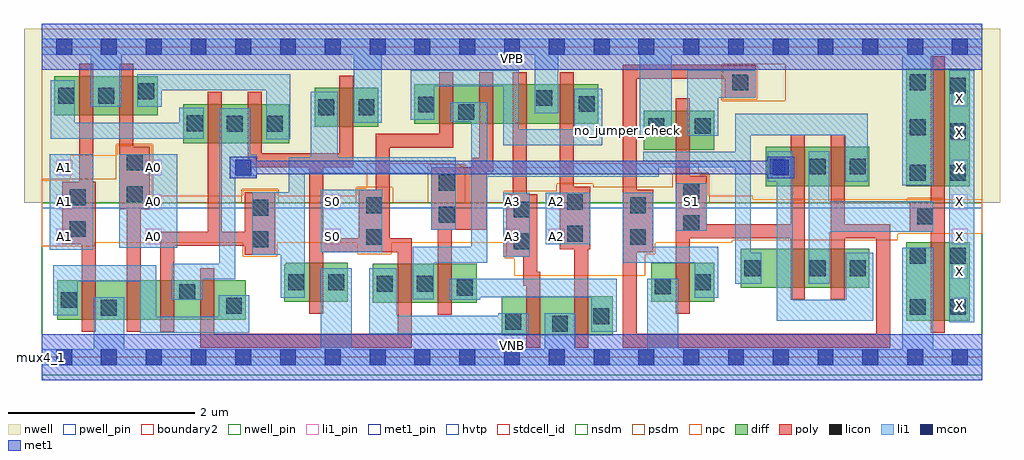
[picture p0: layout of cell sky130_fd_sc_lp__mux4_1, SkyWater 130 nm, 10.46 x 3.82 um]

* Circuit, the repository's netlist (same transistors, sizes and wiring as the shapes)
* Copyright 2020 The SkyWater PDK Authors
*
* Licensed under the Apache License, Version 2.0 (the "License");
* you may not use this file except in compliance with the License.
* You may obtain a copy of the License at
*
*     https://www.apache.org/licenses/LICENSE-2.0
*
* Unless required by applicable law or agreed to in writing, software
* distributed under the License is distributed on an "AS IS" BASIS,
* WITHOUT WARRANTIES OR CONDITIONS OF ANY KIND, either express or implied.
* See the License for the specific language governing permissions and
* limitations under the License.
*
* SPDX-License-Identifier: Apache-2.0

.SUBCKT sky130_fd_sc_lp__mux4_1 A0 A1 A2 A3 S0 S1 VGND VNB VPB VPWR X
*.PININFO A0:I A1:I A2:I A3:I S0:I S1:I VGND:I VNB:I VPB:I VPWR:I X:O
MMNA00 sndNS0ba0 S0b xlowb VNB sky130_fd_pr__nfet_01v8 m=1 w=0.42U l=0.15U mult=1
+ sa=0.265 sb=0.265 sd=0.28 area=0.028 perim=0.76
MMNA01 VGND A0 sndNS0ba0 VNB sky130_fd_pr__nfet_01v8 m=1 w=0.42U l=0.15U mult=1
+ sa=0.265 sb=0.265 sd=0.28 area=0.028 perim=0.76
MMNA10 sndNS0a1 S0 xlowb VNB sky130_fd_pr__nfet_01v8 m=1 w=0.42U l=0.15U mult=1
+ sa=0.265 sb=0.265 sd=0.28 area=0.028 perim=0.76
MMNA11 VGND A1 sndNS0a1 VNB sky130_fd_pr__nfet_01v8 m=1 w=0.42U l=0.15U mult=1
+ sa=0.265 sb=0.265 sd=0.28 area=0.028 perim=0.76
MMNA20 sndNS0ba2 S0b xhib VNB sky130_fd_pr__nfet_01v8 m=1 w=0.42U l=0.15U mult=1
+ sa=0.265 sb=0.265 sd=0.28 area=0.028 perim=0.76
MMNA21 VGND A2 sndNS0ba2 VNB sky130_fd_pr__nfet_01v8 m=1 w=0.42U l=0.15U mult=1
+ sa=0.265 sb=0.265 sd=0.28 area=0.028 perim=0.76
MMNA30 sndNS0a3 S0 xhib VNB sky130_fd_pr__nfet_01v8 m=1 w=0.42U l=0.15U mult=1
+ sa=0.265 sb=0.265 sd=0.28 area=0.028 perim=0.76
MMNA31 VGND A3 sndNS0a3 VNB sky130_fd_pr__nfet_01v8 m=1 w=0.42U l=0.15U mult=1
+ sa=0.265 sb=0.265 sd=0.28 area=0.028 perim=0.76
MMNs1o xb S1b xlowb VNB sky130_fd_pr__nfet_01v8 m=1 w=0.42U l=0.15U mult=1 sa=0.265
+ sb=0.265 sd=0.28 area=0.028 perim=0.76
MMNs2o xb S1 xhib VNB sky130_fd_pr__nfet_01v8 m=1 w=0.42U l=0.15U mult=1 sa=0.265
+ sb=0.265 sd=0.28 area=0.028 perim=0.76
MMIN1 VGND S1 S1b VNB sky130_fd_pr__nfet_01v8 m=1 w=0.42U l=0.15U mult=1 sa=0.265
+ sb=0.265 sd=0.28 area=0.028 perim=0.76
MMIN2 VGND S0 S0b VNB sky130_fd_pr__nfet_01v8 m=1 w=0.42U l=0.15U mult=1 sa=0.265
+ sb=0.265 sd=0.28 area=0.028 perim=0.76
MMIN4 VGND xb X VNB sky130_fd_pr__nfet_01v8 m=1 w=0.84U l=0.15U mult=1 sa=0.265
+ sb=0.265 sd=0.28 area=0.028 perim=0.76
MMPA00 sndPA0a0 A0 VPWR VPB sky130_fd_pr__pfet_01v8_hvt m=1 w=0.42U l=0.15U mult=1
+ sa=0.265 sb=0.265 sd=0.28 area=0.028 perim=0.76
MMPA01 xlowb S0 sndPA0a0 VPB sky130_fd_pr__pfet_01v8_hvt m=1 w=0.42U l=0.15U mult=1
+ sa=0.265 sb=0.265 sd=0.28 area=0.028 perim=0.76
MMPA10 sndPA1a1 A1 VPWR VPB sky130_fd_pr__pfet_01v8_hvt m=1 w=0.42U l=0.15U mult=1
+ sa=0.265 sb=0.265 sd=0.28 area=0.028 perim=0.76
MMPA11 xlowb S0b sndPA1a1 VPB sky130_fd_pr__pfet_01v8_hvt m=1 w=0.42U l=0.15U mult=1
+ sa=0.265 sb=0.265 sd=0.28 area=0.028 perim=0.76
MMPA20 sndPA2a2 A2 VPWR VPB sky130_fd_pr__pfet_01v8_hvt m=1 w=0.42U l=0.15U mult=1
+ sa=0.265 sb=0.265 sd=0.28 area=0.028 perim=0.76
MMPA21 xhib S0 sndPA2a2 VPB sky130_fd_pr__pfet_01v8_hvt m=1 w=0.42U l=0.15U mult=1
+ sa=0.265 sb=0.265 sd=0.28 area=0.028 perim=0.76
MMPA30 sndPA3a3 A3 VPWR VPB sky130_fd_pr__pfet_01v8_hvt m=1 w=0.42U l=0.15U mult=1
+ sa=0.265 sb=0.265 sd=0.28 area=0.028 perim=0.76
MMPA31 xhib S0b sndPA3a3 VPB sky130_fd_pr__pfet_01v8_hvt m=1 w=0.42U l=0.15U mult=1
+ sa=0.265 sb=0.265 sd=0.28 area=0.028 perim=0.76
MMPs1o xb S1 xlowb VPB sky130_fd_pr__pfet_01v8_hvt m=1 w=0.42U l=0.15U mult=1 sa=0.265
+ sb=0.265 sd=0.28 area=0.028 perim=0.76
MMPs2o xb S1b xhib VPB sky130_fd_pr__pfet_01v8_hvt m=1 w=0.42U l=0.15U mult=1 sa=0.265
+ sb=0.265 sd=0.28 area=0.028 perim=0.76
MMIP1 VPWR S1 S1b VPB sky130_fd_pr__pfet_01v8_hvt m=1 w=0.42U l=0.15U mult=1 sa=0.265
+ sb=0.265 sd=0.28 area=0.028 perim=0.76
MMIP2 VPWR S0 S0b VPB sky130_fd_pr__pfet_01v8_hvt m=1 w=0.42U l=0.15U mult=1 sa=0.265
+ sb=0.265 sd=0.28 area=0.028 perim=0.76
MMIP4 VPWR xb X VPB sky130_fd_pr__pfet_01v8_hvt m=1 w=1.26U l=0.15U mult=1 sa=0.265
+ sb=0.265 sd=0.28 area=0.028 perim=0.76
.ENDS sky130_fd_sc_lp__mux4_1

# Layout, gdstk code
import gdstk
lib = gdstk.Library(unit=1e-6, precision=1e-09)
def R(c, l, rs):  # rectangles x0, y0, x1, y1
    for r in rs: c.add(gdstk.rectangle(r[:2], r[2:], *l))
def A(c, l, x, y, w, h, nx, ny, dx, dy):  # array of equal rectangles
    R(c, l, [(x+i*dx, y+j*dy, x+i*dx+w, y+j*dy+h) for i in range(nx) for j in range(ny)])
def P(c, l, *ps):  # polygons
    for p in ps: c.add(gdstk.Polygon(p, *l))
nwell_pin = (64, 16)
nwell = (64, 20)
diff = (65, 20)
poly = (66, 20)
licon = (66, 44)
li1_pin = (67, 16)
li1 = (67, 20)
mcon = (67, 44)
met1_pin = (68, 16)
met1 = (68, 20)
hvtp = (78, 44)
stdcell_id = (81, 4)
nsdm = (93, 44)
psdm = (94, 20)
npc = (95, 20)
pwell_pin = (122, 16)
boundary2 = (236, 0)

sky130_fd_sc_lp__mux4_1 = lib.new_cell('sky130_fd_sc_lp__mux4_1')
R(sky130_fd_sc_lp__mux4_1, nwell_pin, [(0,3.085,10.08,3.33)])
R(sky130_fd_sc_lp__mux4_1, nwell, [(-0.19,1.655,10.27,3.52)])
R(sky130_fd_sc_lp__mux4_1, diff, [(4.93,0.235,6.12,0.655), (9.265,0.395,9.945,1.235), (0.165,0.405,2.185,0.825), (3.55,0.585,4.66,1.005), (6.53,0.595,7.21,1.015), (7.49,0.745,8.87,1.165), (7.76,1.835,8.87,2.255), (9.265,1.835,9.945,3.095), (6.45,2.225,7.21,2.645), (1.515,2.295,2.655,2.715), (2.925,2.47,3.605,2.89), (3.995,2.505,5.965,2.925), (0.135,2.595,1.245,3.015)])
P(sky130_fd_sc_lp__mux4_1, diff, [(3.28,1.015),(2.615,1.015),(2.615,0.99),(2.6,0.99),(2.6,0.595),(3.28,0.595)])
P(sky130_fd_sc_lp__mux4_1, poly, [(0.58,1.88),(0.55,1.88),(0.55,3.145),(0.4,3.145),(0.4,1.88),(0.22,1.88),(0.22,1.21),(0.43,1.21),(0.43,0.275),(0.58,0.275)],
  [(1.16,2.255),(0.98,2.255),(0.98,3.145),(0.83,3.145),(0.83,1.585),(0.91,1.585),(0.91,0.275),(1.06,0.275),(1.06,1.585),(1.16,1.585)],
  [(2.505,1.77),(2.175,1.77),(2.175,1.345),(1.93,1.345),(1.93,2.845),(1.78,2.845),(1.78,1.345),(1.27,1.345),(1.27,0.275),(1.42,0.275),(1.42,1.195),(2.175,1.195),(2.175,1.1),(2.505,1.1)],
  [(4.41,3.055),(4.26,3.055),(4.26,2.395),(3.58,2.395),(3.58,1.795),(3.4,1.795),(3.4,1.275),(3.015,1.275),(3.015,2.035),(3.34,2.035),(3.34,3.02),(3.19,3.02),(3.19,2.185),(2.36,2.185),(2.36,2.845),(2.21,2.845),(2.21,2.035),(2.865,2.035),(2.865,0.465),(3.015,0.465),(3.015,1.125),(3.815,1.125),(3.815,0.255),(1.85,0.255),(1.85,0.955),(1.7,0.955),(1.7,0.105),(3.965,0.105),(3.965,1.275),(3.73,1.275),(3.73,2.245),(4.41,2.245)],
  [(4.84,3.055),(4.69,3.055),(4.69,2.14),(4.62,2.14),(4.62,2.035),(4.175,2.035),(4.175,1.365),(4.245,1.365),(4.245,0.455),(4.395,0.455),(4.395,1.365),(4.77,1.365),(4.77,1.99),(4.84,1.99)],
  [(5.345,0.92),(5.31,0.92),(5.31,1.75),(5.2,1.75),(5.2,3.055),(5.05,3.055),(5.05,1.75),(4.98,1.75),(4.98,1.08),(5.16,1.08),(5.16,0.77),(5.195,0.77),(5.195,0.105),(5.345,0.105)],
  [(5.88,1.83),(5.7,1.83),(5.7,3.055),(5.55,3.055),(5.55,1.16),(5.705,1.16),(5.705,0.105),(5.855,0.105),(5.855,1.16),(5.88,1.16)],
  [(8.175,2.385),(8.025,2.385),(8.025,1.425),(7.125,1.425),(7.125,1.945),(6.945,1.945),(6.945,2.775),(6.795,2.775),(6.795,0.465),(6.945,0.465),(6.945,1.275),(8.025,1.275),(8.025,0.615),(8.175,0.615)],
  [(9.095,1.425),(8.605,1.425),(8.605,2.385),(8.455,2.385),(8.455,0.615),(8.605,0.615),(8.605,1.275),(8.945,1.275),(8.945,0.255),(6.375,0.255),(6.375,1.125),(6.555,1.125),(6.555,1.795),(6.375,1.795),(6.375,2.985),(7.32,2.985),(7.32,2.78),(7.65,2.78),(7.65,3.135),(6.225,3.135),(6.225,0.105),(9.095,0.105)],
  [(9.68,3.225),(9.53,3.225),(9.53,1.675),(9.305,1.675),(9.305,1.345),(9.53,1.345),(9.53,0.265),(9.68,0.265)])
A(sky130_fd_sc_lp__mux4_1, licon, 9.305, 1.895, 0.17, 0.17, 1, 3, 0, 0.485)
A(sky130_fd_sc_lp__mux4_1, licon, 7.8, 1.96, 0.17, 0.17, 3, 1, 0.43, 0)
R(sky130_fd_sc_lp__mux4_1, licon, [(5.47,0.275,5.64,0.445), (4.97,0.295,5.14,0.465), (5.91,0.355,6.08,0.525), (0.635,0.445,0.805,0.615), (9.305,0.455,9.475,0.625), (9.735,0.455,9.905,0.625), (1.975,0.47,2.145,0.64), (0.205,0.53,0.375,0.7), (1.475,0.615,1.645,0.785), (4.45,0.66,4.62,0.83), (6.57,0.675,6.74,0.845), (3.59,0.705,3.76,0.875), (4.02,0.705,4.19,0.875), (2.64,0.72,2.81,0.89), (3.07,0.72,3.24,0.89), (7,0.72,7.17,0.89), (7.53,0.87,7.7,1.04), (8.23,0.87,8.4,1.04), (8.66,0.87,8.83,1.04), (9.305,1.005,9.475,1.175), (9.735,1.005,9.905,1.175), (5.06,1.16,5.23,1.33), (2.255,1.18,2.425,1.35), (3.48,1.205,3.65,1.375), (6.305,1.205,6.475,1.375), (5.63,1.24,5.8,1.41), (0.3,1.29,0.47,1.46), (6.875,1.355,7.045,1.525), (9.385,1.425,9.555,1.595), (4.255,1.445,4.425,1.615), (5.06,1.5,5.23,1.67), (2.255,1.52,2.425,1.69), (3.48,1.545,3.65,1.715), (6.305,1.545,6.475,1.715), (5.63,1.58,5.8,1.75), (0.3,1.63,0.47,1.8), (0.91,1.665,1.08,1.835), (6.875,1.695,7.045,1.865), (4.255,1.785,4.425,1.955), (9.735,1.895,9.905,2.065), (0.91,2.005,1.08,2.175), (9.735,2.34,9.905,2.51), (6.5,2.395,6.67,2.565), (7,2.395,7.17,2.565), (1.985,2.42,2.155,2.59), (2.415,2.42,2.585,2.59), (1.555,2.425,1.725,2.595), (4.465,2.545,4.635,2.715), (2.965,2.595,3.135,2.765), (3.395,2.595,3.565,2.765), (4.035,2.625,4.205,2.795), (5.755,2.63,5.925,2.8), (5.3,2.695,5.47,2.865), (0.175,2.72,0.345,2.89), (0.605,2.72,0.775,2.89), (1.035,2.765,1.205,2.935), (9.735,2.825,9.905,2.995), (7.4,2.86,7.57,3.03)])
A(sky130_fd_sc_lp__mux4_1, li1_pin, 9.755, 0.47, 0.17, 0.17, 1, 7, 0, 0.37)
A(sky130_fd_sc_lp__mux4_1, li1_pin, 0.155, 1.21, 0.17, 0.17, 1, 3, 0, 0.37)
A(sky130_fd_sc_lp__mux4_1, li1_pin, 1.115, 1.21, 0.17, 0.17, 3, 2, 1.92, 0.37)
R(sky130_fd_sc_lp__mux4_1, li1_pin, [(5.435,1.21,5.605,1.38), (5.435,1.58,5.605,1.75), (6.875,1.58,7.045,1.75), (1.115,1.95,1.285,2.12)])
R(sky130_fd_sc_lp__mux4_1, li1, [(9.725,0.375,9.995,3.075), (4.945,1.08,5.23,1.765), (2.99,1.125,3.65,1.795), (0.085,1.155,0.55,2.175), (0.83,1.175,1.45,2.175), (5.4,1.21,5.88,1.765), (6.795,1.355,7.125,1.865)])
P(sky130_fd_sc_lp__mux4_1, li1, [(9.225,1.845),(9.225,3.245),(6.75,3.245),(6.75,2.375),(6.41,2.375),(6.41,3.245),(5.535,3.245),(5.535,2.615),(5.285,2.615),(5.285,3.245),(3.645,3.245),(3.645,2.515),(3.345,2.515),(3.345,3.245),(0.855,3.245),(0.855,2.685),(0.525,2.685),(0.525,3.245),(0,3.245),(0,3.415),(10.08,3.415),(10.08,3.245),(9.555,3.245),(9.555,1.845)],
  [(5.39,0.085),(5.39,0.475),(5.72,0.475),(5.72,0.085),(6.49,0.085),(6.49,0.845),(6.82,0.845),(6.82,0.085),(9.225,0.085),(9.225,1.175),(9.555,1.175),(9.555,0.085),(10.08,0.085),(10.08,-0.085),(0,-0.085),(0,0.085),(0.555,0.085),(0.555,0.645),(0.885,0.645),(0.885,0.085),(2.99,0.085),(2.99,0.955),(3.32,0.955),(3.32,0.085)],
  [(2.65,1.77),(2.65,2.145),(2.885,2.145),(2.885,2.845),(3.175,2.845),(3.175,2.145),(4.435,2.145),(4.435,1.365),(4.175,1.365),(4.175,1.975),(2.82,1.975),(2.82,0.64),(2.56,0.64),(2.56,1.1),(2.255,1.1),(2.255,1.77)],
  [(7.43,0.79),(7.43,2.035),(6.615,2.035),(6.615,1.935),(4.775,1.935),(4.775,1.015),(4.2,1.015),(4.2,0.625),(3.975,0.625),(3.975,1.185),(4.605,1.185),(4.605,2.525),(4.385,2.525),(4.385,2.735),(4.775,2.735),(4.775,2.105),(6.445,2.105),(6.445,2.205),(7.43,2.205),(7.43,2.61),(8.85,2.61),(8.85,1.88),(8.61,1.88),(8.61,2.38),(7.6,2.38),(7.6,1.12),(7.71,1.12),(7.71,0.79)],
  [(6.92,3.075),(7.65,3.075),(7.65,2.78),(7.25,2.78),(7.25,2.375),(6.92,2.375)],
  [(2.305,2.17),(2.235,2.17),(2.235,2.67),(1.905,2.67),(1.905,1.005),(1.395,1.005),(1.395,0.615),(1.725,0.615),(1.725,0.835),(2.075,0.835),(2.075,1.94),(2.305,1.94)],
  [(8.44,1.675),(9.555,1.675),(9.555,1.345),(8.445,1.345),(8.445,0.79),(8.22,0.79),(8.22,2.21),(8.44,2.21)],
  [(7.78,1.88),(7.78,2.21),(8.05,2.21),(8.05,0.62),(8.615,0.62),(8.615,1.12),(8.91,1.12),(8.91,0.39),(7.88,0.39),(7.88,1.88)],
  [(5.115,2.445),(5.705,2.445),(5.705,2.88),(6.005,2.88),(6.005,2.275),(4.945,2.275),(4.945,2.905),(4.205,2.905),(4.205,2.545),(3.955,2.545),(3.955,3.075),(5.115,3.075)],
  [(0.095,2.345),(0.095,2.97),(0.355,2.97),(0.355,2.515),(1.475,2.515),(1.475,2.675),(1.735,2.675),(1.735,2.345)],
  [(6.555,1.185),(7.25,1.185),(7.25,0.64),(7,0.64),(7,1.015),(6.225,1.015),(6.225,1.765),(6.555,1.765)],
  [(6.16,0.845),(6.16,0.275),(5.89,0.275),(5.89,0.645),(4.7,0.645),(4.7,0.615),(4.37,0.615),(4.37,0.845)],
  [(2.405,2.34),(2.405,2.865),(1.285,2.865),(1.285,2.685),(1.025,2.685),(1.025,3.035),(2.665,3.035),(2.665,2.34)],
  [(0.125,0.45),(0.125,0.985),(1.225,0.985),(1.225,0.435),(1.895,0.435),(1.895,0.665),(2.225,0.665),(2.225,0.265),(1.055,0.265),(1.055,0.815),(0.385,0.815),(0.385,0.45)],
  [(4.89,0.445),(4.89,0.475),(5.22,0.475),(5.22,0.255),(3.51,0.255),(3.51,0.955),(3.805,0.955),(3.805,0.445)])
A(sky130_fd_sc_lp__mux4_1, mcon, 0.155, -0.085, 0.17, 0.17, 21, 2, 0.48, 3.33)
R(sky130_fd_sc_lp__mux4_1, mcon, [(2.075,1.95,2.245,2.12), (7.835,1.95,8.005,2.12)])
R(sky130_fd_sc_lp__mux4_1, met1_pin, [(0,0,10.08,0.245), (0,3.085,10.08,3.33)])
R(sky130_fd_sc_lp__mux4_1, met1, [(0,-0.245,10.08,0.245), (0,3.085,10.08,3.575)])
P(sky130_fd_sc_lp__mux4_1, met1, [(2.305,2.105),(7.775,2.105),(7.775,2.15),(8.065,2.15),(8.065,1.92),(7.775,1.92),(7.775,1.965),(2.305,1.965),(2.305,1.92),(2.015,1.92),(2.015,2.15),(2.305,2.15)])
R(sky130_fd_sc_lp__mux4_1, hvtp, [(0,1.6,10.08,3.33)])
R(sky130_fd_sc_lp__mux4_1, stdcell_id, [(0,0,10.08,3.33)])
R(sky130_fd_sc_lp__mux4_1, nsdm, [(0,-0.19,10.08,1.655)])
P(sky130_fd_sc_lp__mux4_1, psdm, [(10.08,3.52),(7.68,3.52),(7.68,3.14),(7.97,3.14),(7.97,2.75),(7.29,2.75),(7.29,3.14),(7.68,3.14),(7.68,3.52),(0,3.52),(0,1.91),(0.8,1.91),(0.8,2.285),(1.19,2.285),(1.19,1.655),(2.145,1.655),(2.145,1.8),(2.535,1.8),(2.535,1.655),(3.37,1.655),(3.37,1.825),(3.76,1.825),(3.76,1.655),(4.145,1.655),(4.145,2.065),(4.535,2.065),(4.535,1.655),(4.95,1.655),(4.95,1.78),(5.52,1.78),(5.52,1.86),(5.91,1.86),(5.91,1.825),(6.765,1.825),(6.765,1.975),(7.155,1.975),(7.155,1.655),(9.275,1.655),(9.275,1.705),(9.665,1.705),(9.665,1.655),(10.08,1.655)])
R(sky130_fd_sc_lp__mux4_1, npc, [(7.3,2.76,7.67,3.13)])
P(sky130_fd_sc_lp__mux4_1, npc, [(10.08,1.695),(7.62,1.695),(7.62,1.73),(7.145,1.73),(7.145,1.965),(7.04,1.965),(7.04,2.08),(5.635,2.08),(5.635,2.035),(4.525,2.035),(4.525,2.055),(4.42,2.055),(4.42,2.08),(3.485,2.08),(3.485,1.815),(3.38,1.815),(3.38,1.73),(2.525,1.73),(2.525,1.79),(2.155,1.79),(2.155,1.73),(1.18,1.73),(1.18,2.275),(0.81,2.275),(0.81,2.165),(0.305,2.165),(0.305,1.9),(0,1.9),(0,1.19),(0.57,1.19),(0.57,1.23),(2.155,1.23),(2.155,1.08),(2.525,1.08),(2.525,1.23),(3.38,1.23),(3.38,1.105),(3.75,1.105),(3.75,1.23),(4.96,1.23),(4.96,1.06),(5.065,1.06),(5.065,0.875),(6.47,0.875),(6.47,1.105),(6.575,1.105),(6.575,1.23),(7.4,1.23),(7.4,1.255),(9.175,1.255),(9.175,1.325),(10.08,1.325)])
R(sky130_fd_sc_lp__mux4_1, pwell_pin, [(0,0,10.08,0.245)])
R(sky130_fd_sc_lp__mux4_1, boundary2, [(0,0,10.08,3.33)])
sky130_fd_sc_lp__mux4_1.add(gdstk.Label('VNB', (5.04,0.123), layer=64, texttype=59))
sky130_fd_sc_lp__mux4_1.add(gdstk.Label('VPB', (5.04,3.208), layer=64, texttype=5))
sky130_fd_sc_lp__mux4_1.add(gdstk.Label('mux4_1', (0,0), layer=83, texttype=44))
sky130_fd_sc_lp__mux4_1.add(gdstk.Label('no_jumper_check', (6.28,2.43), layer=83, texttype=44))
sky130_fd_sc_lp__mux4_1.add(gdstk.Label('VPWR', (5.04,3.208), layer=68, texttype=5))
sky130_fd_sc_lp__mux4_1.add(gdstk.Label('VGND', (5.04,0.123), layer=68, texttype=5))
sky130_fd_sc_lp__mux4_1.add(gdstk.Label('A0', (1.2,1.295), layer=67, texttype=5))
sky130_fd_sc_lp__mux4_1.add(gdstk.Label('A0', (1.2,1.665), layer=67, texttype=5))
sky130_fd_sc_lp__mux4_1.add(gdstk.Label('A0', (1.2,2.035), layer=67, texttype=5))
sky130_fd_sc_lp__mux4_1.add(gdstk.Label('S0', (3.12,1.295), layer=67, texttype=5))
sky130_fd_sc_lp__mux4_1.add(gdstk.Label('S0', (3.12,1.665), layer=67, texttype=5))
sky130_fd_sc_lp__mux4_1.add(gdstk.Label('A1', (0.24,1.295), layer=67, texttype=5))
sky130_fd_sc_lp__mux4_1.add(gdstk.Label('A1', (0.24,1.665), layer=67, texttype=5))
sky130_fd_sc_lp__mux4_1.add(gdstk.Label('A1', (0.24,2.035), layer=67, texttype=5))
sky130_fd_sc_lp__mux4_1.add(gdstk.Label('A2', (5.52,1.295), layer=67, texttype=5))
sky130_fd_sc_lp__mux4_1.add(gdstk.Label('A2', (5.52,1.665), layer=67, texttype=5))
sky130_fd_sc_lp__mux4_1.add(gdstk.Label('A3', (5.04,1.295), layer=67, texttype=5))
sky130_fd_sc_lp__mux4_1.add(gdstk.Label('A3', (5.04,1.665), layer=67, texttype=5))
sky130_fd_sc_lp__mux4_1.add(gdstk.Label('S1', (6.96,1.665), layer=67, texttype=5))
sky130_fd_sc_lp__mux4_1.add(gdstk.Label('X', (9.84,0.555), layer=67, texttype=5))
sky130_fd_sc_lp__mux4_1.add(gdstk.Label('X', (9.84,0.925), layer=67, texttype=5))
sky130_fd_sc_lp__mux4_1.add(gdstk.Label('X', (9.84,1.295), layer=67, texttype=5))
sky130_fd_sc_lp__mux4_1.add(gdstk.Label('X', (9.84,1.665), layer=67, texttype=5))
sky130_fd_sc_lp__mux4_1.add(gdstk.Label('X', (9.84,2.035), layer=67, texttype=5))
sky130_fd_sc_lp__mux4_1.add(gdstk.Label('X', (9.84,2.405), layer=67, texttype=5))
sky130_fd_sc_lp__mux4_1.add(gdstk.Label('X', (9.84,2.775), layer=67, texttype=5))

lib.write_gds('sky130_fd_sc_lp__mux4_1.gds')
